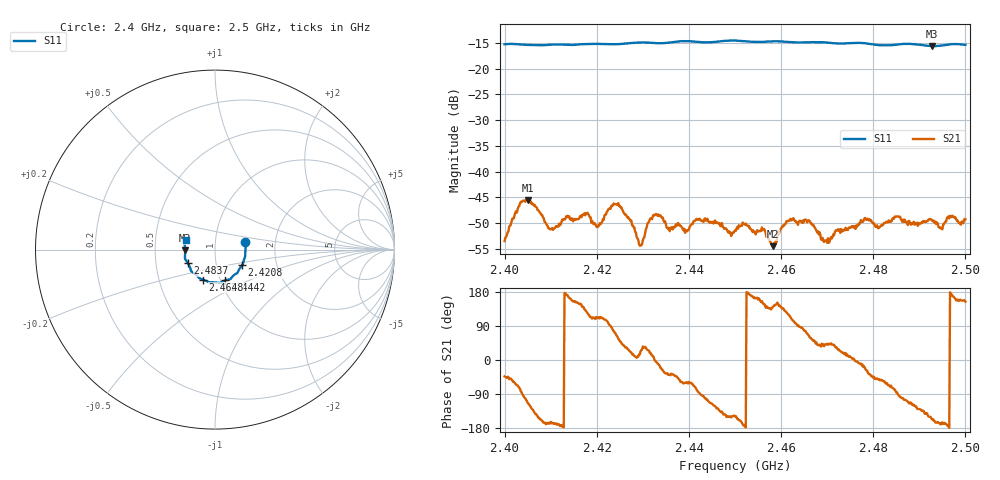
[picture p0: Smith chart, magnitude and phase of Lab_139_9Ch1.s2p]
# Hz S RI R 50
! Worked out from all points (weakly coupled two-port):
!   601 points, 2.4 GHz to 2.5 GHz, reference 50 ohm
!   highest |S21| = -45.51 dB at 2.405 GHz (marker M1); lowest = -54.5 dB at 2.4582 GHz (marker M2)
!   lowest |S11| = -15.6 dB at 2.4928 GHz (marker M3), VSWR 1.40, Z = 35.8 - j0.358 ohm
!   |S11| at or under -10 dB: start of sweep to end of sweep
!   S12 and S22 are empty: the file has one direction only
!   S11 on the Smith chart (normalised r, x): 2.4 GHz: 1.40, +0.12; 2.4208 GHz: 1.33, -0.24; 2.4442 GHz: 1.05, -0.37; 2.4648 GHz: 0.83, -0.29; 2.4837 GHz: 0.73, -0.11; 2.5 GHz: 0.72, +0.08
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2.4e9  0.1678 0.0411  0.00154 -0.00146  0 0  0 0
2.405e9  0.1702 0.00899  -0.00209 -0.00487  0 0  0 0
2.41e9  0.1691 -0.0278  -0.00264 -0.000795  0 0  0 0
2.416667e9  0.159 -0.0681  -0.00297 0.00204  0 0  0 0
2.420833e9  0.1506 -0.0871  -0.00109 0.00289  0 0  0 0
2.4245e9  0.1378 -0.1052  0.0023 0.00417  0 0  0 0
2.4295e9  0.1258 -0.1288  0.00179 0.000746  0 0  0 0
2.433333e9  0.1081 -0.1401  0.00377 -0.000713  0 0  0 0
2.435667e9  0.0959 -0.1516  0.00223 -0.00178  0 0  0 0
2.444167e9  0.0568 -0.1712  -0.00105 -0.00317  0 0  0 0
2.45e9  0.0246 -0.1863  -0.00231 -0.00137  0 0  0 0
2.456e9  -0.0139 -0.1819  -0.00236 0.00132  0 0  0 0
2.458167e9  -0.0264 -0.1828  -0.00143 0.00124  0 0  0 0
2.4615e9  -0.0434 -0.1768  -0.0017 0.00284  0 0  0 0
2.464833e9  -0.0682 -0.1667  0.000487 0.00315  0 0  0 0
2.466667e9  -0.08 -0.1627  0.00181 0.00255  0 0  0 0
2.47e9  -0.0931 -0.1534  0.00149 0.00139  0 0  0 0
2.478333e9  -0.1354 -0.1133  0.00321 -0.00147  0 0  0 0
2.483333e9  -0.1506 -0.0762  0.00133 -0.00309  0 0  0 0
2.483667e9  -0.1523 -0.0734  0.00109 -0.00306  0 0  0 0
2.492833e9  -0.1658 -0.00486  -0.00305 -0.0013  0 0  0 0
2.5e9  -0.1624 0.0527  -0.0031 0.00151  0 0  0 0
